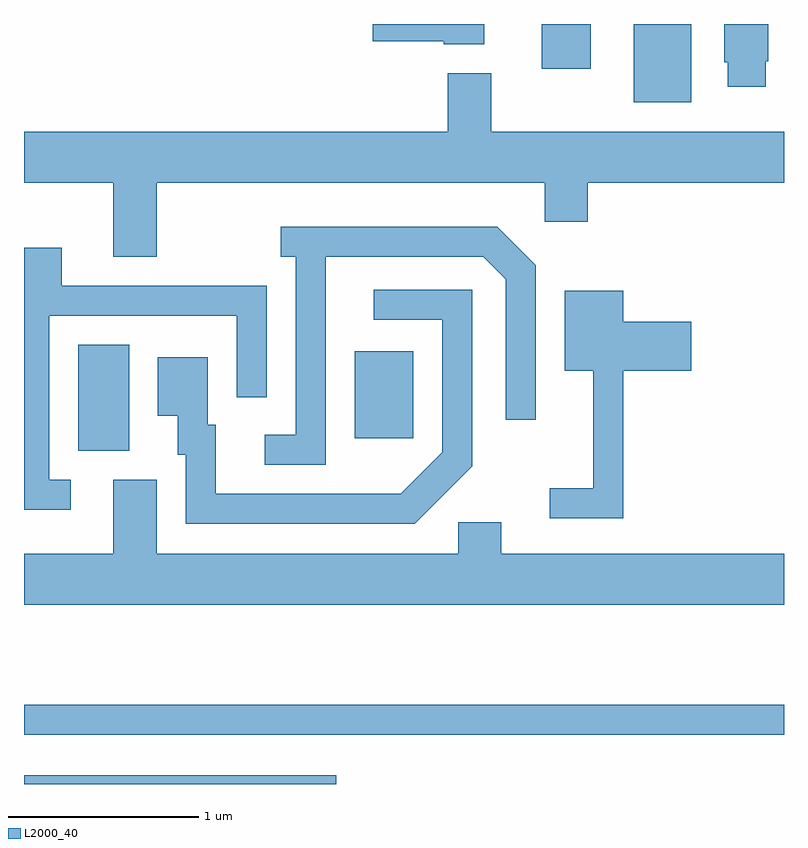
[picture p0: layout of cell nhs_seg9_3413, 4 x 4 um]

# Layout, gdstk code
import gdstk
lib = gdstk.Library(unit=1e-6, precision=1e-09)
def R(c, l, rs):  # rectangles x0, y0, x1, y1
    for r in rs: c.add(gdstk.rectangle(r[:2], r[2:], *l))
def P(c, l, *ps):  # polygons
    for p in ps: c.add(gdstk.Polygon(p, *l))
L2000_40 = (2000, 40)

nhs_seg9_3413 = lib.new_cell('nhs_seg9_3413')
R(nhs_seg9_3413, L2000_40, [(285.611,1986.432,287.254,1986.479), (285.611,1986.691,289.611,1986.849), (285.896,1988.186,286.164,1988.744), (287.351,1988.251,287.659,1988.709), (288.821,1990.021,289.124,1990.432), (288.336,1990.196,288.594,1990.432)])
P(nhs_seg9_3413, L2000_40, [(289.514,1990.235),(289.529,1990.235),(289.529,1990.432),(289.296,1990.432),(289.296,1990.231),(289.316,1990.231),(289.316,1990.101),(289.514,1990.101)],
  [(288.034,1990.432),(287.446,1990.432),(287.446,1990.341),(287.82,1990.341),(287.82,1990.326),(288.034,1990.326)],
  [(286.309,1989.596),(288.351,1989.596),(288.351,1989.391),(288.579,1989.391),(288.579,1989.596),(289.611,1989.596),(289.611,1989.864),(288.069,1989.864),(288.069,1990.174),(287.841,1990.174),(287.841,1989.864),(285.611,1989.864),(285.611,1989.596),(286.081,1989.596),(286.081,1989.206),(286.309,1989.206)],
  [(287.199,1989.206),(288.029,1989.206),(288.146,1989.089),(288.146,1988.348),(288.304,1988.348),(288.304,1989.162),(288.102,1989.364),(286.963,1989.364),(286.963,1989.206),(287.041,1989.206),(287.041,1988.269),(286.878,1988.269),(286.878,1988.111),(287.199,1988.111)],
  [(285.858,1988.034),(285.744,1988.034),(285.744,1988.896),(286.731,1988.896),(286.731,1988.468),(286.889,1988.468),(286.889,1989.054),(285.809,1989.054),(285.809,1989.254),(285.611,1989.254),(285.611,1987.876),(285.858,1987.876)],
  [(287.969,1988.104),(287.969,1989.034),(287.453,1989.034),(287.453,1988.876),(287.811,1988.876),(287.811,1988.177),(287.594,1987.959),(286.619,1987.959),(286.619,1988.324),(286.579,1988.324),(286.579,1988.679),(286.316,1988.679),(286.316,1988.371),(286.421,1988.371),(286.421,1988.166),(286.461,1988.166),(286.461,1987.801),(287.667,1987.801)],
  [(288.764,1988.606),(289.124,1988.606),(289.124,1988.864),(288.764,1988.864),(288.764,1989.029),(288.456,1989.029),(288.456,1988.606),(288.606,1988.606),(288.606,1987.989),(288.378,1987.989),(288.378,1987.831),(288.764,1987.831)],
  [(289.611,1987.644),(288.124,1987.644),(288.124,1987.809),(287.896,1987.809),(287.896,1987.644),(286.309,1987.644),(286.309,1988.034),(286.081,1988.034),(286.081,1987.644),(285.611,1987.644),(285.611,1987.376),(289.611,1987.376)])

lib.write_gds('nhs_seg9_3413.gds')
